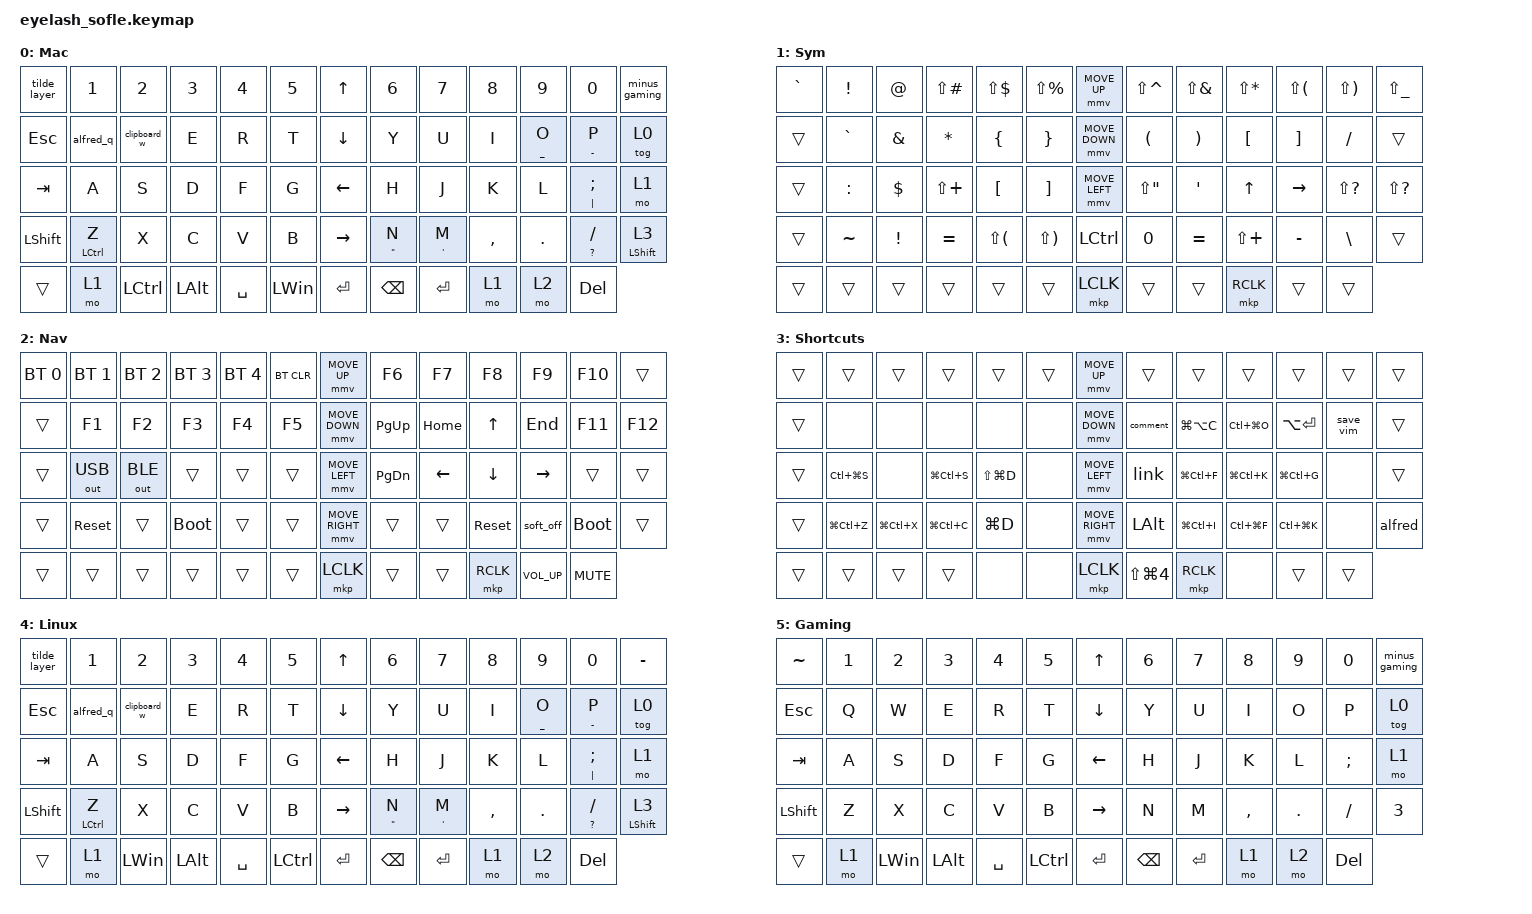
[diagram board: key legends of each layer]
#define ZMK_POINTING_DEFAULT_MOVE_VAL 1200
#define ZMK_POINTING_DEFAULT_SCRL_VAL 25

#include <input/processors.dtsi>
#include <zephyr/dt-bindings/input/input-event-codes.h>
#include <behaviors.dtsi>
#include <dt-bindings/zmk/bt.h>
#include <dt-bindings/zmk/keys.h>
#include <dt-bindings/zmk/outputs.h>
#include <dt-bindings/zmk/pointing.h>

// ─── Layer indices ────────────────────────────────────────────────────────────

#define Base      0
#define Sym       1
#define Nav       2
#define Shortcuts 3
#define Linux     4
#define Gaming    5

// ─── Pointing / scroll tuning (joystick) ──────────────────────────────────────

&mmv_input_listener { input-processors = <&zip_xy_scaler 2 1>; };

&msc_input_listener { input-processors = <&zip_scroll_scaler 2 1>; };

&msc {
    acceleration-exponent = <1>;
    time-to-max-speed-ms = <100>;
    delay-ms = <0>;
};

&mmv {
    time-to-max-speed-ms = <500>;
    acceleration-exponent = <1>;
    trigger-period-ms = <16>;
};

&soft_off { hold-time-ms = <2000>; };

/ {
    behaviors {
        kp_kp: kp_kp {
            compatible = "zmk,behavior-hold-tap";
            bindings = <&kp>, <&kp>;

            #binding-cells = <2>;
            tapping-term-ms = <250>;
            flavor = "tap-preferred";
            hold-trigger-on-release;
        };

        kp_sk: kp_sk {
            compatible = "zmk,behavior-hold-tap";
            bindings = <&sk>, <&kp>;

            #binding-cells = <2>;
            tapping-term-ms = <250>;
            flavor = "balanced";
        };

        sl_sk: sl_sk {
            compatible = "zmk,behavior-hold-tap";
            bindings = <&sk>, <&sl>;

            #binding-cells = <2>;
            tapping-term-ms = <200>;
            flavor = "balanced";
        };

        alfred_q: alfred_q {
            compatible = "zmk,behavior-tap-dance";
            #binding-cells = <0>;
            bindings = <&kp Q>, <&alfred>;

            tapping-term-ms = <200>;
        };

        clipboard_w: clipboard_w {
            compatible = "zmk,behavior-tap-dance";
            #binding-cells = <0>;
            bindings = <&kp W>, <&kp LA(LG(C))>;
        };

        // ~ single tap  -> &kp TILDE
        // ~ double tap  -> &tog Linux (idx 4) — toggle Linux layer; symmetric.
        tilde_layer: tilde_layer {
            compatible = "zmk,behavior-tap-dance";
            #binding-cells = <0>;
            bindings = <&kp TILDE>, <&tog 4>;
            tapping-term-ms = <200>;
        };

        // - single tap  -> &kp MINUS
        // - double tap  -> &tog Gaming (idx 5) — toggle Gaming layer; symmetric.
        minus_gaming: minus_gaming {
            compatible = "zmk,behavior-tap-dance";
            #binding-cells = <0>;
            bindings = <&kp MINUS>, <&tog 5>;
            tapping-term-ms = <200>;
        };
    };

    macros {
        alfred: alfred {
            compatible = "zmk,behavior-macro";
            #binding-cells = <0>;
            wait-ms = <1>;
            tap-ms = <40>;
            bindings = <&kp LEFT_GUI &kp LGUI>;
        };

        comment: comment {
            compatible = "zmk,behavior-macro";
            #binding-cells = <0>;
            wait-ms = <1>;
            tap-ms = <1>;
            bindings = <&kp GRAVE &kp GRAVE &kp GRAVE>;
        };

        link: link {
            compatible = "zmk,behavior-macro";
            #binding-cells = <0>;
            wait-ms = <1>;
            tap-ms = <1>;
            bindings = <&kp LBKT &kp RBKT &kp LPAR &kp RPAR>;
        };

        save_vim: save_vim {
            compatible = "zmk,behavior-macro";
            #binding-cells = <0>;
            bindings = <&kp COLON &kp W &kp RET>;
        };
    };

    combos {
        compatible = "zmk,combos";

        // Q + S + Z held 2 s → deep sleep

        softoff {
            bindings = <&soft_off>;
            key-positions = <14 28 40>;
        };

        magic_tb {
            bindings = <&kp TAB>;
            key-positions = <18 31>;
        };
    };

    keymap {
        compatible = "zmk,keymap";

        // ══════════════════════════════════════════════════════════════════════
        // 0 — Base (Mac)
        //
        // Outer right col: row0=MINUS  row1=tog Gaming
        // ══════════════════════════════════════════════════════════════════════

        Base_Mac {
            display-name = "Mac";
            bindings = <
&tilde_layer  &kp N1          &kp N2            &kp N3        &kp N4     &kp N5          &kp UP_ARROW     &kp N6                  &kp N7        &kp N8     &kp N9          &kp N0                &minus_gaming
&kp ESC    &alfred_q       &clipboard_w      &kp E         &kp R      &kp T           &kp DOWN_ARROW   &kp Y                   &kp U         &kp I      &kp_kp UNDER O  &kp_kp MINUS P        &tog 0
&kp TAB    &kp A           &kp S             &kp D         &kp F      &kp G           &kp LEFT_ARROW   &kp H                   &kp J         &kp K      &kp L           &kp_kp PIPE SEMI      &mo 1
&kp LSHFT  &kp_kp LCTRL Z  &kp X             &kp C         &kp V      &kp B           &kp RIGHT_ARROW  &kp_kp DOUBLE_QUOTES N  &kp_kp SQT M  &kp COMMA  &kp DOT         &kp_kp QUESTION FSLH  &sl_sk LEFT_SHIFT 3
&trans     &mo 1           &kp LEFT_CONTROL  &kp LEFT_ALT  &kp SPACE  &kp LEFT_WIN    &kp ENTER        &kp BSPC                &kp ENTER     &mo 1      &mo 2           &kp DEL
            >;
        };

        // ══════════════════════════════════════════════════════════════════════
        // 1 — Sym
        // ══════════════════════════════════════════════════════════════════════

        Sym {
            display-name = "Sym";
            bindings = <
&kp GRAVE  &kp EXCLAMATION  &kp AT_SIGN    &kp LS(POUND)  &kp LS(DLLR)    &kp LS(PRCNT)    &mmv MOVE_UP    &kp LS(CARET)         &kp LS(AMPS)           &kp LS(STAR)      &kp LS(LPAR)       &kp LS(RPAR)   &kp LS(UNDER)
&trans     &kp GRAVE        &kp AMPERSAND  &kp ASTERISK   &kp LEFT_BRACE  &kp RBRC         &mmv MOVE_DOWN  &kp LEFT_PARENTHESIS  &kp RIGHT_PARENTHESIS  &kp LEFT_BRACKET  &kp RIGHT_BRACKET  &kp FSLH       &trans
&trans     &kp COLON        &kp DOLLAR     &kp LS(PLUS)   &kp LBKT        &kp RBKT         &mmv MOVE_LEFT  &kp LS(DQT)           &kp SQT                &kp UP_ARROW      &kp RIGHT          &kp LS(QMARK)  &kp LS(QMARK)
&trans     &kp TILDE        &kp EXCL       &kp EQUAL      &kp LS(LPAR)    &kp LS(RPAR)     &kp LCTRL       &kp N0                &kp EQUAL              &kp LS(PLUS)      &kp MINUS          &kp BSLH       &trans
&trans     &trans           &trans         &trans         &trans          &trans           &mkp LCLK       &trans                &trans                 &mkp RCLK         &trans             &trans
            >;
        };

        // ══════════════════════════════════════════════════════════════════════
        // 2 — Nav / F-keys / BT
        // ══════════════════════════════════════════════════════════════════════

        Nav {
            display-name = "Nav";
            bindings = <
&bt BT_SEL 0  &bt BT_SEL 1  &bt BT_SEL 2  &bt BT_SEL 3  &bt BT_SEL 4  &bt BT_CLR    &mmv MOVE_UP     &kp F6     &kp F7    &kp F8      &kp F9        &kp F10      &trans
&trans        &kp F1        &kp F2        &kp F3        &kp F4        &kp F5        &mmv MOVE_DOWN   &kp PG_UP  &kp HOME  &kp UP      &kp END       &kp F11      &kp F12
&trans        &out OUT_USB  &out OUT_BLE  &trans        &trans        &trans        &mmv MOVE_LEFT   &kp PG_DN  &kp LEFT  &kp DOWN    &kp RIGHT     &trans       &trans
&trans        &sys_reset    &trans        &bootloader   &trans        &trans        &mmv MOVE_RIGHT  &trans     &trans    &sys_reset  &soft_off     &bootloader  &trans
&trans        &trans        &trans        &trans        &trans        &trans        &mkp LCLK        &trans     &trans    &mkp RCLK   &kp C_VOL_UP  &kp C_MUTE
            >;
        };

        // ══════════════════════════════════════════════════════════════════════
        // 3 — Shortcuts
        // ══════════════════════════════════════════════════════════════════════

        Shortcuts {
            display-name = "Shortcuts";
            bindings = <
&trans  &trans         &trans         &trans         &trans         &trans    &mmv MOVE_UP     &trans                &trans         &trans         &trans         &trans     &trans
&trans  &none          &none          &none          &none          &none     &mmv MOVE_DOWN   &comment              &kp LG(LA(C))  &kp LC(LG(O))  &kp LA(ENTER)  &save_vim  &trans
&trans  &kp LC(LG(S))  &none          &kp LG(LC(S))  &kp LS(LG(D))  &none     &mmv MOVE_LEFT   &link                 &kp LG(LC(F))  &kp LG(LC(K))  &kp LG(LC(G))  &none      &trans
&trans  &kp LG(LC(Z))  &kp LG(LC(X))  &kp LG(LC(C))  &kp LG(D)      &none     &mmv MOVE_RIGHT  &kp LALT              &kp LG(LC(I))  &kp LC(LG(F))  &kp LC(LG(K))  &none      &alfred
&trans  &trans         &trans         &trans         &none          &none     &mkp LCLK        &kp LS(LG(NUMBER_4))  &mkp RCLK      &none          &trans         &trans
            >;
        };

        // ══════════════════════════════════════════════════════════════════════
        // 4 — Linux  (Mac layout with Ctrl ↔ Win swapped — for Linux use)
        // Toggle from/to Base: double-tap ~  (&tilde_layer)
        // Thumb row: LEFT_CONTROL and LEFT_WIN positions are swapped so the
        // "Mac-Cmd" thumb sends Ctrl and the Ctrl thumb sends Super.
        // Includes macros (clipboard_w, alfred_q, hold-taps).
        // For pure gaming (no macro interference), see layer 5 "Gaming".
        // ══════════════════════════════════════════════════════════════════════

        Linux {
            display-name = "Linux";
            bindings = <
&tilde_layer  &kp N1          &kp N2            &kp N3        &kp N4     &kp N5          &kp UP_ARROW     &kp N6                  &kp N7        &kp N8     &kp N9          &kp N0                &kp MINUS
&kp ESC       &alfred_q       &clipboard_w      &kp E         &kp R      &kp T           &kp DOWN_ARROW   &kp Y                   &kp U         &kp I      &kp_kp UNDER O  &kp_kp MINUS P        &tog 0
&kp TAB       &kp A           &kp S             &kp D         &kp F      &kp G           &kp LEFT_ARROW   &kp H                   &kp J         &kp K      &kp L           &kp_kp PIPE SEMI      &mo 1
&kp LSHFT     &kp_kp LCTRL Z  &kp X             &kp C         &kp V      &kp B           &kp RIGHT_ARROW  &kp_kp DOUBLE_QUOTES N  &kp_kp SQT M  &kp COMMA  &kp DOT         &kp_kp QUESTION FSLH  &sl_sk LEFT_SHIFT 3
&trans        &mo 1           &kp LEFT_WIN      &kp LEFT_ALT  &kp SPACE  &kp LEFT_CONTROL &kp ENTER        &kp BSPC                &kp ENTER     &mo 1      &mo 2           &kp DEL
            >;
        };

        // ══════════════════════════════════════════════════════════════════════
        // 5 — Gaming  (pure, no macros — same Linux layout as layer 4 but plain)
        // Toggle from/to Base: double-tap -  (&minus_gaming)
        // No clipboard_w, no alfred_q, no hold-taps — every key is a plain
        // &kp so gameplay inputs (W, Q, shift, etc.) never trigger behaviors.
        // Thumb row keeps Ctrl/Win swap.
        // ══════════════════════════════════════════════════════════════════════

        Gaming {
            display-name = "Gaming";
            bindings = <
&kp TILDE       &kp N1          &kp N2          &kp N3         &kp N4     &kp N5          &kp UP_ARROW    &kp N6          &kp N7          &kp N8     &kp N9          &kp N0                &minus_gaming
&kp ESC         &kp Q           &kp W           &kp E          &kp R      &kp T           &kp DOWN_ARROW  &kp Y           &kp U           &kp I      &kp O           &kp P                 &tog 0
&kp TAB         &kp A           &kp S           &kp D          &kp F      &kp G           &kp LEFT_ARROW  &kp H           &kp J           &kp K      &kp L           &kp SEMI              &mo 1
&kp LSHFT       &kp Z           &kp X           &kp C          &kp V      &kp B           &kp RIGHT_ARROW &kp N           &kp M           &kp COMMA  &kp DOT         &kp FSLH              &kp 3
&trans          &mo 1           &kp LEFT_WIN    &kp LEFT_ALT   &kp SPACE  &kp LEFT_CONTROL &kp ENTER       &kp BSPC        &kp ENTER       &mo 1      &mo 2           &kp DEL
            >;
        };
    };
};
